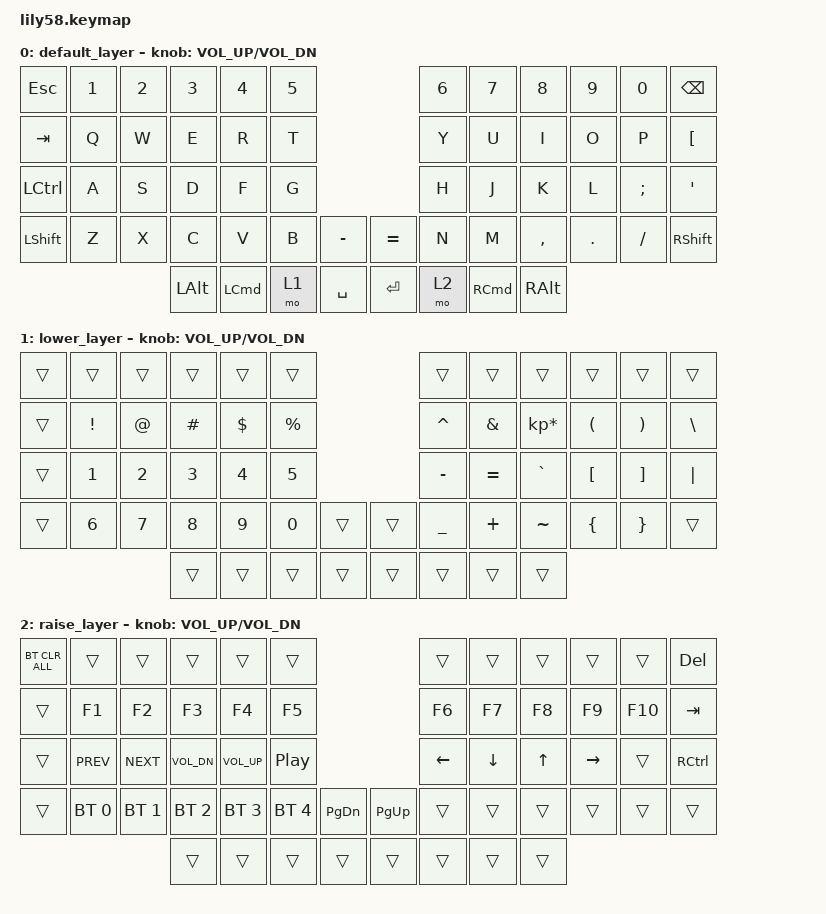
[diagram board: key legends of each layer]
/*
 * Copyright (c) 2020 The ZMK Contributors
 *
 * SPDX-License-Identifier: MIT
 */

#include <behaviors.dtsi>
#include <dt-bindings/zmk/bt.h>
#include <dt-bindings/zmk/keys.h>

/ {
    combos {
        compatible = "zmk,combos";

        combo_esc {
            timeout-ms = <50>;
            key-positions = <0 1>;
            bindings = <&kp ESC>;
        };
    };

    behaviors {
        ss_hs_modmorph: ss_hs_modmorph {
            compatible = "zmk,behavior-mod-morph";
            label = "SS_HS_MODMORPH";
            bindings = <&kp M>, <&kp RIGHT_BRACKET>;

            #binding-cells = <0>;
            mods = <(MOD_LSFT|MOD_RSFT)>;
        };

        kh_hs_tapdance: kh_hs_tapdance {
            compatible = "zmk,behavior-tap-dance";
            label = "KH_HS_TAPDANCE";
            #binding-cells = <0>;
            tapping-term-ms = <200>;
            bindings = <&kp LEFT_BRACKET>, <&kp RIGHT_BRACKET>;
        };

        hrm: hrm {
            compatible = "zmk,behavior-hold-tap";
            #binding-cells = <2>;
            flavor = "tap-preferred";
            tapping-term-ms = <200>;
            quick-tap-ms = <200>;
            require-prior-idle-ms = <125>;
            bindings = <&kp>, <&kp>;
        };
    };

    keymap {
        compatible = "zmk,keymap";

        default_layer {
            // ------------------------------------------------------------------------------------------------------------
            // |  ESC  |  1  |  2  |  3   |  4   |  5   |                   |  6   |  7    |  8    |  9   |   0   |   `   |
            // |  TAB  |  Q  |  W  |  E   |  R   |  T   |                   |  Y   |  U    |  I    |  O   |   P   |   -   |
            // |  CTRL |  A  |  S  |  D   |  F   |  G   |                   |  H   |  J    |  K    |  L   |   ;   |   '   |
            // | SHIFT |  Z  |  X  |  C   |  V   |  B   |   "["  |  |  "]"  |  N   |  M    |  ,    |  .   |   /   | SHIFT |
            //                     | ALT  | GUI  | LOWER|  SPACE |  | ENTER | RAISE| BSPC  | GUI   |

            bindings = <
&kp ESC    &kp N1  &kp N2  &kp N3        &kp N4            &kp N5                          &kp N6  &kp N7             &kp N8         &kp N9   &kp N0    &kp BACKSPACE
&kp TAB    &kp Q   &kp W   &kp E         &kp R             &kp T                           &kp Y   &kp U              &kp I          &kp O    &kp P     &kp LEFT_BRACKET
&kp LCTRL  &kp A   &kp S   &kp D         &kp F             &kp G                           &kp H   &kp J              &kp K          &kp L    &kp SEMI  &kp SQT
&kp LSHFT  &kp Z   &kp X   &kp C         &kp V             &kp B   &kp MINUS    &kp EQUAL  &kp N   &kp M              &kp COMMA      &kp DOT  &kp FSLH  &kp RSHFT
                           &kp LEFT_ALT  &kp LEFT_COMMAND  &mo 1   &kp SPACE    &kp RET    &mo 2   &kp RIGHT_COMMAND  &kp RIGHT_ALT
            >;

            sensor-bindings = <&inc_dec_kp C_VOL_UP C_VOL_DN>;
        };

        lower_layer {
            // ------------------------------------------------------------------------------------------------------------
            // | BTCLR | BT1 | BT2 |  BT3 |  BT4 |  BT5 |                   |      |       |       |      |       |       |
            // |  F1   |  F2 |  F3 |  F4  |  F5  |  F6  |                   |  F7  |  F8   |  F9   |  F10 |  F11  |  F12  |
            // |   `   |  !  |  @  |  #   |  $   |  %   |                   |  ^   |  &    |  *    |  (   |   )   |   ~   |
            // |       |     |     |      |      |      |        |  |       |      |  _    |  +    |  {   |   }   |  "|"  |
            //                     |      |      |      |        |  |       |      |       |       |

            bindings = <
&trans  &trans    &trans  &trans    &trans    &trans                       &trans     &trans     &trans           &trans    &trans    &trans
&trans  &kp EXCL  &kp AT  &kp HASH  &kp DLLR  &kp PRCNT                    &kp CARET  &kp AMPS   &kp KP_MULTIPLY  &kp LPAR  &kp RPAR  &kp BSLH
&trans  &kp N1    &kp N2  &kp N3    &kp N4    &kp N5                       &kp MINUS  &kp EQUAL  &kp GRAVE        &kp LBKT  &kp RBKT  &kp PIPE
&trans  &kp N6    &kp N7  &kp N8    &kp N9    &kp N0     &trans    &trans  &kp UNDER  &kp PLUS   &kp TILDE        &kp LBRC  &kp RBRC  &trans
                          &trans    &trans    &trans     &trans    &trans  &trans     &trans     &trans
            >;

            sensor-bindings = <&inc_dec_kp C_VOL_UP C_VOL_DN>;
        };

        raise_layer {
            // ------------------------------------------------------------------------------------------------------------
            // |       |     |     |      |      |      |                   |      |       |       |      |       |       |
            // |   `   |  1  |  2  |  3   |  4   |  5   |                   |  6   |   7   |   8   |  9   |   0   |       |
            // |   F1  |  F2 |  F3 |  F4  |  F5  |  F6  |                   |      |   <-  |   v   |  ^   |  ->   |       |
            // |   F7  |  F8 |  F9 |  F10 |  F11 |  F12 |        |  |       |  +   |   -   |   =   |  [   |   ]   |   \   |
            //                     |      |      |      |        |  |       |      |       |       |

            bindings = <
&bt BT_CLR_ALL  &trans        &trans        &trans        &trans        &trans                                      &trans    &trans    &trans  &trans     &trans   &kp DEL
&trans          &kp F1        &kp F2        &kp F3        &kp F4        &kp F5                                      &kp F6    &kp F7    &kp F8  &kp F9     &kp F10  &kp TAB
&trans          &kp C_PREV    &kp C_NEXT    &kp C_VOL_DN  &kp C_VOL_UP  &kp C_PP                                    &kp LEFT  &kp DOWN  &kp UP  &kp RIGHT  &trans   &kp RCTRL
&trans          &bt BT_SEL 0  &bt BT_SEL 1  &bt BT_SEL 2  &bt BT_SEL 3  &bt BT_SEL 4  &kp PAGE_DOWN    &kp PAGE_UP  &trans    &trans    &trans  &trans     &trans   &trans
                                            &trans        &trans        &trans        &trans           &trans       &trans    &trans    &trans
            >;

            sensor-bindings = <&inc_dec_kp C_VOL_UP C_VOL_DN>;
        };
    };
};
